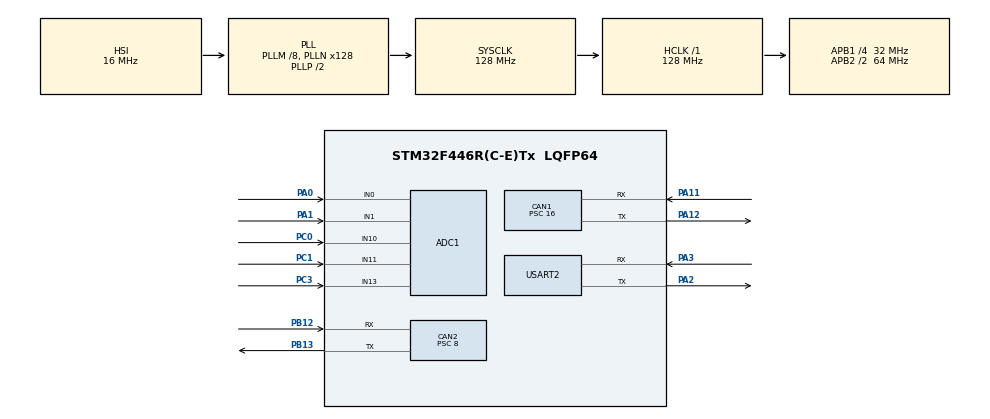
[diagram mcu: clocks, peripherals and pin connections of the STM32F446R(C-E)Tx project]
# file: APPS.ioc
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ADC1.Channel-0\#ChannelRegularConversion=ADC_CHANNEL_10
ADC1.NbrOfConversionFlag=1
ADC1.Rank-0\#ChannelRegularConversion=1
ADC1.SamplingTime-0\#ChannelRegularConversion=ADC_SAMPLETIME_3CYCLES
ADC1.master=1
CAN1.BS1=CAN_BS1_2TQ
CAN1.CalculateBaudRate=500000
CAN1.CalculateTimeBit=2000
CAN1.CalculateTimeQuantum=500.0
CAN1.Mode=CAN_MODE_NORMAL
CAN1.Prescaler=16
CAN2.BS1=CAN_BS1_2TQ
CAN2.CalculateBaudRate=1000000
CAN2.CalculateTimeBit=1000
CAN2.CalculateTimeQuantum=250.0
CAN2.Prescaler=8
Mcu.Family=STM32F4
Mcu.Name=STM32F446R(C-E)Tx
Mcu.Package=LQFP64
NVIC.PriorityGroup=NVIC_PRIORITYGROUP_4
PA0-WKUP.Signal=ADCx_IN0
PA1.Signal=ADCx_IN1
PA11.GPIO_PuPd=GPIO_NOPULL
PA11.Mode=CAN_Activate
PA11.Signal=CAN1_RX
PA12.Mode=CAN_Activate
PA12.Signal=CAN1_TX
PA13.Mode=Serial_Wire
PA13.Signal=SYS_JTMS-SWDIO
PA14.Mode=Serial_Wire
PA14.Signal=SYS_JTCK-SWCLK
PA2.Mode=Asynchronous
PA2.Signal=USART2_TX
PA3.Mode=Asynchronous
PA3.Signal=USART2_RX
PB12.Mode=CAN_Activate
PB12.Signal=CAN2_RX
PB13.Mode=CAN_Activate
PB13.Signal=CAN2_TX
PC0.Signal=ADCx_IN10
PC1.Signal=ADCx_IN11
PC3.Signal=ADCx_IN13
ProjectManager.HeapSize=0x200
ProjectManager.StackSize=0x400
ProjectManager.TargetToolchain=STM32CubeIDE
RCC.AHBFreq_Value=128000000
RCC.APB1CLKDivider=RCC_HCLK_DIV4
RCC.APB1Freq_Value=32000000
RCC.APB1TimFreq_Value=64000000
RCC.APB2CLKDivider=RCC_HCLK_DIV2
RCC.APB2Freq_Value=64000000
RCC.APB2TimFreq_Value=128000000
RCC.CortexFreq_Value=128000000
RCC.HCLKFreq_Value=128000000
RCC.PLLM=8
RCC.PLLN=128
RCC.SYSCLKFreq_VALUE=128000000
RCC.SYSCLKSource=RCC_SYSCLKSOURCE_PLLCLK
RCC.USBFreq_Value=128000000
RCC.VCOOutputFreq_Value=256000000
SH.ADCx_IN0.0=ADC1_IN0,IN0
SH.ADCx_IN1.0=ADC1_IN1,IN1
SH.ADCx_IN10.0=ADC1_IN10,IN10
SH.ADCx_IN11.0=ADC1_IN11,IN11
SH.ADCx_IN13.0=ADC1_IN13,IN13
USART2.VirtualMode=VM_ASYNC
board=custom

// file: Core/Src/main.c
/* USER CODE BEGIN Header */
/**
  ******************************************************************************
  * @file           : main.c
  * @brief          : Main program body
  ******************************************************************************
  * @attention
  *
  * Copyright (c) 2022 STMicroelectronics.
  * All rights reserved.
  *
  * This software is licensed under terms that can be found in the LICENSE file
  * in the root directory of this software component.
  * If no LICENSE file comes with this software, it is provided AS-IS.
  *
  ******************************************************************************
  */
/* USER CODE END Header */
#include "main.h"

/* USER CODE BEGIN Includes */
#include "FEB_logger.h"
#include "FEB_CAN.h"
#include "FEB_ADC.h"
/* USER CODE END Includes */

/* USER CODE BEGIN PTD */
struct {
  uint16_t torque;
  uint8_t enabled;

  uint8_t other_faults;

  uint8_t prestop_called;

  uint16_t setpoint;
  float k_p;
  float k_i;
  float period;
  uint16_t error_sum;
  uint16_t error_sum_counter;
  uint16_t error_sum_thresh;
  uint16_t windup_thresh;

  float motor_speed;

  float throttle_thresh; //  In Watts
  float abs_thresh; //  In Watts
} RMSControl;

struct {
  uint8_t enabled;

  float motor_speed;
  float current; // In amps times 10
  float voltage; // In volts times 10
} RMSStatus;

/* USER CODE END PTD */

/* USER CODE BEGIN PD */
#define MODULE_NAME     "APPS"

#define BRAKE_PEDAL_RESET       0.513
#define BRAKE_PEDAL_FULL        0.602

#define ACC_PEDAL_0_RESET       1.128
#define ACC_PEDAL_0_FULL        0.305
#define ACC_PEDAL_1_RESET       1.579
#define ACC_PEDAL_1_FULL        1.294

/* USER CODE END PD */

 ADC_HandleTypeDef hadc1;

CAN_HandleTypeDef hcan1;
CAN_HandleTypeDef hcan2;

UART_HandleTypeDef huart2;

void SystemClock_Config(void);
static void MX_GPIO_Init(void);
static void MX_ADC1_Init(void);
static void MX_USART2_UART_Init(void);
static void MX_CAN1_Init(void);
static void MX_CAN2_Init(void);
/* USER CODE BEGIN PFP */

CAN_HandleTypeDef *RMS_CANx;

void FEB_RMS_init(CAN_HandleTypeDef *CANx);
void FEB_RMS_updateTorque();
void FEB_RMS_disable();
void FEB_RMS_enable();
void FEB_RMS_setTorque(uint16_t torque);

float FEB_APPS_getBrakePedal();
float FEB_APPS_getAccPedal();

/* USER CODE END PFP */

int main(void) {

  /* MCU Configuration--------------------------------------------------------*/

  /* Reset of all peripherals, Initializes the Flash interface and the Systick. */
  HAL_Init();

  /* Configure the system clock */
  SystemClock_Config();

  /* Initialize all configured peripherals */
  MX_GPIO_Init();
  MX_ADC1_Init();
  MX_USART2_UART_Init();
  MX_CAN1_Init();
  MX_CAN2_Init();
  /* USER CODE BEGIN 2 */

  // listen to only frame with id==0x200
  FEB_CAN_initFilter(&hcan1, 0x200, 0xFFF);

  if (HAL_CAN_Start(&hcan1) != HAL_OK) {
    while (1)
    FEB_log(MODULE_NAME, "ERROR", "CAN1 initialization error");
  }

  FEB_RMS_init(&hcan1);

  FEB_RMS_setTorque(0);

// START OF debug only
  for (uint16_t i=0; i<50; i+=1) {
    FEB_RMS_setTorque(0);
    HAL_Delay(100);
  }

//  FEB_RMS_enable();
// END OF debug only

  FEB_log(MODULE_NAME, "INFO", "RMS Enabled");
  /* USER CODE END 2 */

  /* Infinite loop */
  while (1) {

    /* USER CODE BEGIN 3 */

    float brake_pedal = FEB_APPS_getBrakePedal();
    float acc_pedal = FEB_APPS_getAccPedal();

    float brake_pressure[2];
    brake_pressure[0] = FEB_ADC_sampleChannel(&hadc1, ADC_CHANNEL_0);
    brake_pressure[1] = FEB_ADC_sampleChannel(&hadc1, ADC_CHANNEL_1);

    if (HAL_CAN_GetRxFifoFillLevel(&hcan1, CAN_RX_FIFO0) > 0 || HAL_CAN_GetRxFifoFillLevel(&hcan1, CAN_RX_FIFO1) > 0) {

      CAN_RxHeaderTypeDef header;
      uint8_t buffer[8];

      HAL_CAN_GetRxMessage(&hcan1, CAN_RX_FIFO0, &header, buffer);

      if (header.StdId == 0x200 && !buffer[0]) {
        FEB_RMS_enable();

        FEB_log(MODULE_NAME, "INFO", "RMS Enabled");
      }
      if (header.StdId == 0x200 && buffer[0]) {
        FEB_RMS_disable();

        FEB_log(MODULE_NAME, "INFO", "RMS Disabled");
      }
    }

    float pedal_state[2];
    pedal_state[0] = brake_pedal;
    pedal_state[1] = acc_pedal;
    FEB_CAN_transmit(&hcan1, 0x201, (uint8_t *)pedal_state, 8, 0);

    uint8_t brake_light_control = 0b01000000;
    FEB_CAN_transmit(&hcan1, 0x300, &brake_light_control, 1, 0);

    // if we are braking, we dont need torque...
    // coefficient in Nm
    uint16_t torque = acc_pedal * 50;
//    uint16_t torque = (brake_pedal < 0.1) ? acc_pedal * 50 : 0;

    FEB_RMS_setTorque(torque);

    char str[128];
    sprintf(str, "<APPS> [INFO] BRAKE(0x100): %f \tACC(0x101): %f \ttorque: %d\r\n", brake_pedal, acc_pedal, torque);
    FEB_log(MODULE_NAME, "INFO", str);

    HAL_Delay(100);
  }
  /* USER CODE END 3 */
}

void SystemClock_Config(void)
{
  RCC_OscInitTypeDef RCC_OscInitStruct = {0};
  RCC_ClkInitTypeDef RCC_ClkInitStruct = {0};

  /** Configure the main internal regulator output voltage
  */
  __HAL_RCC_PWR_CLK_ENABLE();
  __HAL_PWR_VOLTAGESCALING_CONFIG(PWR_REGULATOR_VOLTAGE_SCALE2);

  /** Initializes the RCC Oscillators according to the specified parameters
  * in the RCC_OscInitTypeDef structure.
  */
  RCC_OscInitStruct.OscillatorType = RCC_OSCILLATORTYPE_HSI;
  RCC_OscInitStruct.HSIState = RCC_HSI_ON;
  RCC_OscInitStruct.HSICalibrationValue = RCC_HSICALIBRATION_DEFAULT;
  RCC_OscInitStruct.PLL.PLLState = RCC_PLL_ON;
  RCC_OscInitStruct.PLL.PLLSource = RCC_PLLSOURCE_HSI;
  RCC_OscInitStruct.PLL.PLLM = 8;
  RCC_OscInitStruct.PLL.PLLN = 128;
  RCC_OscInitStruct.PLL.PLLP = RCC_PLLP_DIV2;
  RCC_OscInitStruct.PLL.PLLQ = 2;
  RCC_OscInitStruct.PLL.PLLR = 2;
  if (HAL_RCC_OscConfig(&RCC_OscInitStruct) != HAL_OK)
  {
    Error_Handler();
  }

  /** Initializes the CPU, AHB and APB buses clocks
  */
  RCC_ClkInitStruct.ClockType = RCC_CLOCKTYPE_HCLK|RCC_CLOCKTYPE_SYSCLK
                              |RCC_CLOCKTYPE_PCLK1|RCC_CLOCKTYPE_PCLK2;
  RCC_ClkInitStruct.SYSCLKSource = RCC_SYSCLKSOURCE_PLLCLK;
  RCC_ClkInitStruct.AHBCLKDivider = RCC_SYSCLK_DIV1;
  RCC_ClkInitStruct.APB1CLKDivider = RCC_HCLK_DIV4;
  RCC_ClkInitStruct.APB2CLKDivider = RCC_HCLK_DIV2;

  if (HAL_RCC_ClockConfig(&RCC_ClkInitStruct, FLASH_LATENCY_4) != HAL_OK)
  {
    Error_Handler();
  }
}

static void MX_ADC1_Init(void)
{

  ADC_ChannelConfTypeDef sConfig = {0};

  /** Configure the global features of the ADC (Clock, Resolution, Data Alignment and number of conversion)
  */
  hadc1.Instance = ADC1;
  hadc1.Init.ClockPrescaler = ADC_CLOCK_SYNC_PCLK_DIV2;
  hadc1.Init.Resolution = ADC_RESOLUTION_12B;
  hadc1.Init.ScanConvMode = DISABLE;
  hadc1.Init.ContinuousConvMode = DISABLE;
  hadc1.Init.DiscontinuousConvMode = DISABLE;
  hadc1.Init.ExternalTrigConvEdge = ADC_EXTERNALTRIGCONVEDGE_NONE;
  hadc1.Init.ExternalTrigConv = ADC_SOFTWARE_START;
  hadc1.Init.DataAlign = ADC_DATAALIGN_RIGHT;
  hadc1.Init.NbrOfConversion = 1;
  hadc1.Init.DMAContinuousRequests = DISABLE;
  hadc1.Init.EOCSelection = ADC_EOC_SINGLE_CONV;
  if (HAL_ADC_Init(&hadc1) != HAL_OK)
  {
    Error_Handler();
  }

  /** Configure for the selected ADC regular channel its corresponding rank in the sequencer and its sample time.
  */
  sConfig.Channel = ADC_CHANNEL_10;
  sConfig.Rank = 1;
  sConfig.SamplingTime = ADC_SAMPLETIME_3CYCLES;
  if (HAL_ADC_ConfigChannel(&hadc1, &sConfig) != HAL_OK)
  {
    Error_Handler();
  }

}

static void MX_CAN1_Init(void)
{

  hcan1.Instance = CAN1;
  hcan1.Init.Prescaler = 16;
  hcan1.Init.Mode = CAN_MODE_NORMAL;
  hcan1.Init.SyncJumpWidth = CAN_SJW_1TQ;
  hcan1.Init.TimeSeg1 = CAN_BS1_2TQ;
  hcan1.Init.TimeSeg2 = CAN_BS2_1TQ;
  hcan1.Init.TimeTriggeredMode = DISABLE;
  hcan1.Init.AutoBusOff = DISABLE;
  hcan1.Init.AutoWakeUp = DISABLE;
  hcan1.Init.AutoRetransmission = DISABLE;
  hcan1.Init.ReceiveFifoLocked = DISABLE;
  hcan1.Init.TransmitFifoPriority = DISABLE;
  if (HAL_CAN_Init(&hcan1) != HAL_OK)
  {
    Error_Handler();
  }

}

static void MX_CAN2_Init(void)
{

  hcan2.Instance = CAN2;
  hcan2.Init.Prescaler = 8;
  hcan2.Init.Mode = CAN_MODE_NORMAL;
  hcan2.Init.SyncJumpWidth = CAN_SJW_1TQ;
  hcan2.Init.TimeSeg1 = CAN_BS1_2TQ;
  hcan2.Init.TimeSeg2 = CAN_BS2_1TQ;
  hcan2.Init.TimeTriggeredMode = DISABLE;
  hcan2.Init.AutoBusOff = DISABLE;
  hcan2.Init.AutoWakeUp = DISABLE;
  hcan2.Init.AutoRetransmission = DISABLE;
  hcan2.Init.ReceiveFifoLocked = DISABLE;
  hcan2.Init.TransmitFifoPriority = DISABLE;
  if (HAL_CAN_Init(&hcan2) != HAL_OK)
  {
    Error_Handler();
  }

}

static void MX_USART2_UART_Init(void)
{

  huart2.Instance = USART2;
  huart2.Init.BaudRate = 115200;
  huart2.Init.WordLength = UART_WORDLENGTH_8B;
  huart2.Init.StopBits = UART_STOPBITS_1;
  huart2.Init.Parity = UART_PARITY_NONE;
  huart2.Init.Mode = UART_MODE_TX_RX;
  huart2.Init.HwFlowCtl = UART_HWCONTROL_NONE;
  huart2.Init.OverSampling = UART_OVERSAMPLING_16;
  if (HAL_UART_Init(&huart2) != HAL_OK)
  {
    Error_Handler();
  }

}

static void MX_GPIO_Init(void)
{

  /* GPIO Ports Clock Enable */
  __HAL_RCC_GPIOC_CLK_ENABLE();
  __HAL_RCC_GPIOA_CLK_ENABLE();
  __HAL_RCC_GPIOB_CLK_ENABLE();

}

/* USER CODE BEGIN 4 */

void FEB_RMS_init(CAN_HandleTypeDef *CANx) {
  RMS_CANx = CANx;

  RMSControl.enabled = 0;
  RMSControl.torque = 0;
  RMSControl.prestop_called = 0;

  RMSControl.motor_speed = 0;
  RMSControl.setpoint = 500;

  RMSControl.k_p = 0.16;
  RMSControl.k_i = 0.05;
  RMSControl.period = 0.01;
  RMSControl.windup_thresh = 3000;

  RMSControl.error_sum = 0;
  RMSControl.error_sum_counter = 0;
  RMSControl.error_sum_thresh = 1000;

  RMSControl.throttle_thresh = 10. * 1000;
  RMSControl.abs_thresh = 15. * 1000;

  RMSControl.other_faults = -1;

  uint16_t can_id = 0x411;  // hex(1041)
  uint32_t delay_between_message = 5;
  uint8_t is_blocking = 1;

  uint8_t msg_off_data[8] = {0x34, 0, 1, 0, 0, 0, 0, 0};
  FEB_CAN_transmit(RMS_CANx, can_id, msg_off_data, 8, is_blocking);
  HAL_Delay(delay_between_message);

  // Set voltage 1 freqency
  uint8_t v1_freq_data[8] = {0x21, 2, 0, 10, 0, 0, 0, 0};
  FEB_CAN_transmit(RMS_CANx, can_id, v1_freq_data, 8, is_blocking);
  HAL_Delay(delay_between_message);

  // Turn off voltage 2
  uint8_t v2_off_data[8] = { 0x22, 0, 0, 0, 0, 0, 0 };
  FEB_CAN_transmit(RMS_CANx, can_id, v2_off_data, 8, is_blocking);
  HAL_Delay(delay_between_message);

  // Turn off voltage 3
  uint8_t v3_off_data[8] = { 0x23, 0, 0, 0, 0, 0, 0, 0 };
  FEB_CAN_transmit(RMS_CANx, can_id, v3_off_data, 8, is_blocking);
  HAL_Delay(delay_between_message);

  // Lower energy frequency
  uint8_t lower_energy_data[8] = { 0x27, 2, 0, 0x64, 0, 0, 0, 0 };
  FEB_CAN_transmit(RMS_CANx, can_id, lower_energy_data, 8, is_blocking);
  HAL_Delay(delay_between_message);

  // Store
  uint8_t store_data[8] = { 0x32, 0, 0, 0, 0, 0, 0, 0 };
  FEB_CAN_transmit(RMS_CANx, can_id, store_data, 8, is_blocking);
  HAL_Delay(delay_between_message);

  // Turn on messages
  uint8_t msg_on_data[8] = { 0x34, 1, 1, 0, 0, 0, 0, 0 };
  FEB_CAN_transmit(RMS_CANx, can_id, msg_on_data, 8, is_blocking);
  HAL_Delay(delay_between_message);

  for (int i=0; i<20; i+=1) {
    FEB_RMS_setTorque(0);
    HAL_Delay(100);
  }
}

void FEB_RMS_updateTorque() {
  uint8_t buffer[8] = {RMSControl.torque & 0xFF, RMSControl.torque >> 8, 0, 0, 0, RMSControl.enabled, 0, 0};
  FEB_CAN_transmit(RMS_CANx, 0x0C0, buffer, 8, 0);
}

void FEB_RMS_disable() {
  uint8_t pump_control = 0b01010000;
  FEB_CAN_transmit(&hcan1, 0x305, &pump_control, 1, 0);

  RMSControl.enabled = 0;
  FEB_RMS_updateTorque();
}

void FEB_RMS_enable() {
  uint8_t pump_control = 0b01010001;
  FEB_CAN_transmit(&hcan1, 0x305, &pump_control, 1, 0);

  RMSControl.enabled = 1;
  FEB_RMS_updateTorque();
}

void FEB_RMS_setTorque(uint16_t torque) {
  RMSControl.torque = torque * 10;
  FEB_RMS_updateTorque();
}

float FEB_APPS_getBrakePedal() {
  float brake_pedal = FEB_ADC_sampleChannel(&hadc1, ADC_CHANNEL_13);
//  char str[128];
//  sprintf(str, "%f\t", brake_pedal);
//  FEB_log("", "", str);
  float brake_normalized = (brake_pedal - BRAKE_PEDAL_RESET) / (BRAKE_PEDAL_FULL - BRAKE_PEDAL_RESET);

  /* clamp */
  brake_normalized = brake_normalized > 1 ? 1 : brake_normalized;
  brake_normalized = brake_normalized < 0.05 ? 0 : brake_normalized;

  return brake_normalized;
}

float FEB_APPS_getAccPedal() {
  float acc_pedal_0 = FEB_ADC_sampleChannel(&hadc1, ADC_CHANNEL_10);
  float acc_pedal_1 = FEB_ADC_sampleChannel(&hadc1, ADC_CHANNEL_11);
//  char str[128];
//  sprintf(str, "%f\t%f\t", acc_pedal_0, acc_pedal_1);
//  FEB_log("", "", str);

  float acc_0_normalized = (acc_pedal_0 - ACC_PEDAL_0_RESET) / (ACC_PEDAL_0_FULL - ACC_PEDAL_0_RESET);
  float acc_1_normalized = (acc_pedal_1 - ACC_PEDAL_1_RESET) / (ACC_PEDAL_1_FULL - ACC_PEDAL_1_RESET);

  float acc_normalized = 0.5 * (acc_0_normalized + acc_1_normalized);

  /* clamp */
  acc_normalized = acc_normalized > 1 ? 1 : acc_normalized;
  acc_normalized = acc_normalized < 0.05 ? 0 : acc_normalized;

  return acc_normalized;
}
/* USER CODE END 4 */

void Error_Handler(void)
{
  __disable_irq();
  while (1)
  {
  }
}
